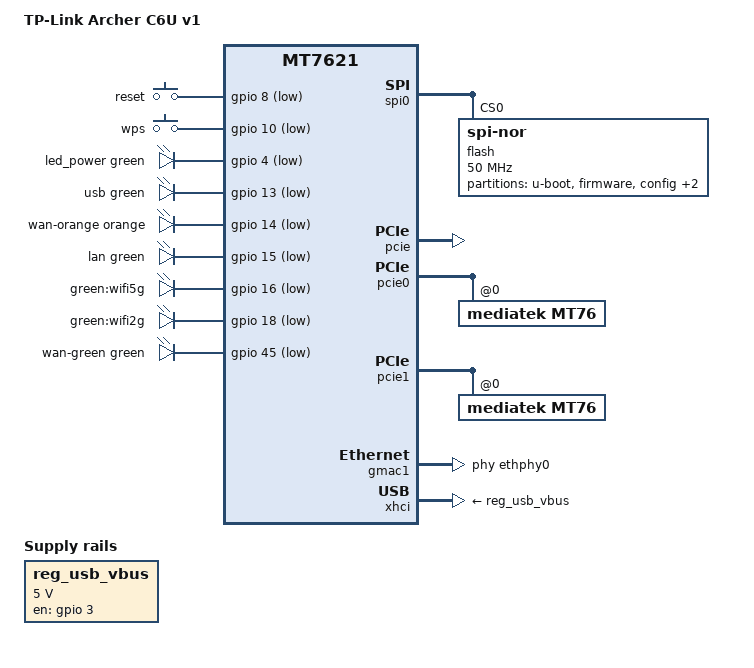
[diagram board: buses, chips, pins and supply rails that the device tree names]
// SPDX-License-Identifier: GPL-2.0-or-later OR MIT

#include "mt7621.dtsi"

#include <dt-bindings/gpio/gpio.h>
#include <dt-bindings/input/input.h>
#include <dt-bindings/leds/common.h>

/ {
	compatible = "tplink,archer-c6u-v1", "mediatek,mt7621-soc";
	model = "TP-Link Archer C6U v1";

	aliases {
		led-boot = &led_power;
		led-failsafe = &led_power;
		led-running = &led_power;
		led-upgrade = &led_power;
		label-mac-device = &gmac0;
	};

	chosen {
		bootargs = "console=ttyS0,115200";
	};

	keys {
		compatible = "gpio-keys";

		reset {
			label = "reset";
			gpios = <&gpio 8 GPIO_ACTIVE_LOW>;
			linux,code = <KEY_RESTART>;
		};

		wps {
			label = "wps";
			gpios = <&gpio 10 GPIO_ACTIVE_LOW>;
			linux,code = <KEY_WPS_BUTTON>;
		};
	};

	leds {
		compatible = "gpio-leds";

		led_power: power {
			function = LED_FUNCTION_POWER;
			color = <LED_COLOR_ID_GREEN>;
			gpios = <&gpio 4 GPIO_ACTIVE_LOW>;
		};

		usb {
			function = LED_FUNCTION_USB;
			color = <LED_COLOR_ID_GREEN>;
			gpios = <&gpio 13 GPIO_ACTIVE_LOW>;
			trigger-sources = <&ehci_port2>;
			linux,default-trigger = "usbport";
		};

		wan-orange {
			function = LED_FUNCTION_WAN;
			color = <LED_COLOR_ID_ORANGE>;
			gpios = <&gpio 14 GPIO_ACTIVE_LOW>;
		};

		lan {
			function = LED_FUNCTION_LAN;
			color = <LED_COLOR_ID_GREEN>;
			gpios = <&gpio 15 GPIO_ACTIVE_LOW>;
		};

		wifi5g {
			label = "green:wifi5g";
			gpios = <&gpio 16 GPIO_ACTIVE_LOW>;
			linux,default-trigger = "phy1tpt";
		};

		wifi2g {
			label = "green:wifi2g";
			gpios = <&gpio 18 GPIO_ACTIVE_LOW>;
			linux,default-trigger = "phy0tpt";
		};

		wan-green {
			function = LED_FUNCTION_WAN;
			color = <LED_COLOR_ID_GREEN>;
			gpios = <&gpio 45 GPIO_ACTIVE_LOW>;
		};
	};

	reg_usb_vbus: regulator {
		compatible = "regulator-fixed";
		regulator-name = "usb_vbus";
		regulator-min-microvolt = <5000000>;
		regulator-max-microvolt = <5000000>;
		gpios = <&gpio 3 GPIO_ACTIVE_HIGH>;
		enable-active-high;
	};
};

&spi0 {
	status = "okay";

	flash@0 {
		compatible = "jedec,spi-nor";
		reg = <0>;
		spi-max-frequency = <50000000>;

		partitions {
			compatible = "fixed-partitions";
			#address-cells = <1>;
			#size-cells = <1>;

			partition@0 {
				label = "u-boot";
				reg = <0x000000 0x040000>;
				read-only;
			};

			partition@40000 {
				compatible = "denx,uimage";
				label = "firmware";
				reg = <0x040000 0xf60000>;
			};

			partition@fa0000 {
				label = "config";
				reg = <0xfa0000 0x010000>;
				read-only;

				nvmem-layout {
					compatible = "fixed-layout";
					#address-cells = <1>;
					#size-cells = <1>;

					macaddr_config_8: macaddr@8 {
						compatible = "mac-base";
						reg = <0x8 0x6>;
						#nvmem-cell-cells = <1>;
					};
				};
			};

			partition@fb0000 {
				label = "tplink";
				reg = <0xfb0000 0x040000>;
				read-only;
			};

			partition@ff0000 {
				label = "radio";
				reg = <0xff0000 0x010000>;
				read-only;

				nvmem-layout {
					compatible = "fixed-layout";
					#address-cells = <1>;
					#size-cells = <1>;

					eeprom_radio_0: eeprom@0 {
						reg = <0x0 0x400>;
					};

					eeprom_radio_8000: eeprom@8000 {
						reg = <0x8000 0x4da8>;
					};
				};
			};
		};
	};
};

&pcie {
	status = "okay";
};

&pcie0 {
	mt76@0,0 {
		compatible = "mediatek,mt76";
		reg = <0x0000 0 0 0 0>;
		nvmem-cells = <&eeprom_radio_0>, <&macaddr_config_8 0>;
		nvmem-cell-names = "eeprom", "mac-address";
		ieee80211-freq-limit = <2400000 2500000>;
	};
};

&pcie1 {
	mt76@0,0 {
		compatible = "mediatek,mt76";
		reg = <0x0000 0 0 0 0>;
		nvmem-cells = <&eeprom_radio_8000>, <&macaddr_config_8 (-1)>;
		nvmem-cell-names = "eeprom", "mac-address";
		ieee80211-freq-limit = <5000000 6000000>;
	};
};

&gmac0 {
	nvmem-cells = <&macaddr_config_8 0>;
	nvmem-cell-names = "mac-address";
};

&gmac1 {
	status = "okay";
	label = "wan";
	phy-handle = <&ethphy0>;

	nvmem-cells = <&macaddr_config_8 1>;
	nvmem-cell-names = "mac-address";
};

&ethphy0 {
	/delete-property/ interrupts;
};

&switch0 {
	ports {
		port@1 {
			status = "okay";
			label = "lan1";
		};

		port@2 {
			status = "okay";
			label = "lan2";
		};

		port@3 {
			status = "okay";
			label = "lan3";
		};

		port@4 {
			status = "okay";
			label = "lan4";
		};
	};
};

&state_default {
	gpio {
		groups = "i2c", "uart2", "uart3", "jtag", "wdt", "sdhci";
		function = "gpio";
	};
};

&xhci {
	vbus-supply = <&reg_usb_vbus>;
};
